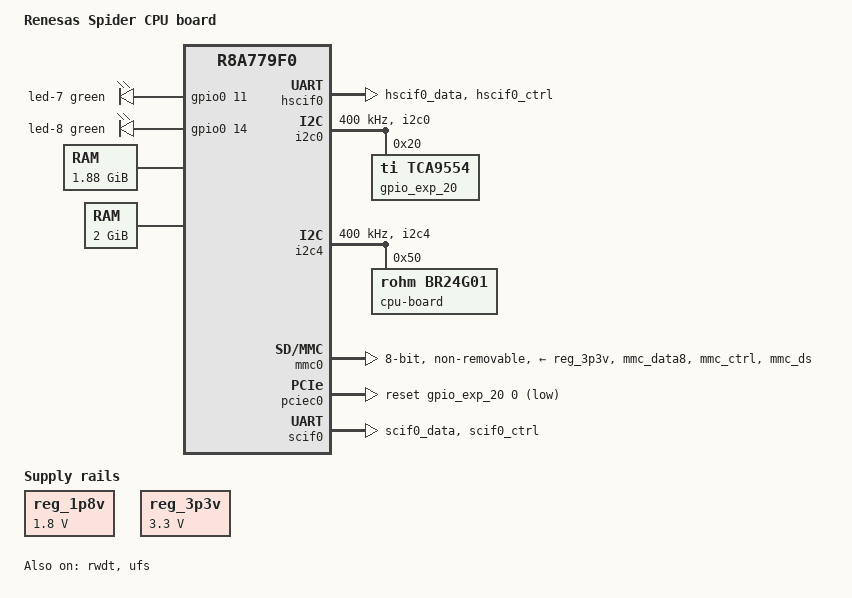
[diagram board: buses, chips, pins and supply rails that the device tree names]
// SPDX-License-Identifier: (GPL-2.0 OR MIT)
/*
 * Device Tree Source for the Spider CPU board
 *
 * Copyright (C) 2021 Renesas Electronics Corp.
 */

#include <dt-bindings/gpio/gpio.h>
#include <dt-bindings/leds/common.h>

#include "r8a779f0.dtsi"

/ {
	model = "Renesas Spider CPU board";
	compatible = "renesas,spider-cpu", "renesas,r8a779f0";

	aliases {
		i2c0 = &i2c0;
		i2c1 = &i2c1;
		i2c2 = &i2c2;
		i2c3 = &i2c3;
		i2c4 = &i2c4;
		i2c5 = &i2c5;
		serial0 = &hscif0;
		serial1 = &scif0;
	};

	chosen {
		bootargs = "ignore_loglevel rw root=/dev/nfs ip=on";
		stdout-path = "serial0:1843200n8";
	};

	leds {
		compatible = "gpio-leds";

		led-7 {
			gpios = <&gpio0 11 GPIO_ACTIVE_HIGH>;
			color = <LED_COLOR_ID_GREEN>;
			function = LED_FUNCTION_INDICATOR;
			function-enumerator = <7>;
		};

		led-8 {
			gpios = <&gpio0 14 GPIO_ACTIVE_HIGH>;
			color = <LED_COLOR_ID_GREEN>;
			function = LED_FUNCTION_INDICATOR;
			function-enumerator = <8>;
		};
	};

	memory@48000000 {
		device_type = "memory";
		/* first 128MB is reserved for secure area. */
		reg = <0x0 0x48000000 0x0 0x78000000>;
	};

	memory@480000000 {
		device_type = "memory";
		reg = <0x4 0x80000000 0x0 0x80000000>;
	};

	rc21012_pci: clk-rc21012-pci {
		compatible = "fixed-clock";
		clock-frequency = <100000000>;
		#clock-cells = <0>;
	};

	rc21012_ufs: clk-rc21012-ufs {
		compatible = "fixed-clock";
		clock-frequency = <38400000>;
		#clock-cells = <0>;
	};

	reg_1p8v: regulator-1p8v {
		compatible = "regulator-fixed";
		regulator-name = "fixed-1.8V";
		regulator-min-microvolt = <1800000>;
		regulator-max-microvolt = <1800000>;
		regulator-boot-on;
		regulator-always-on;
	};

	reg_3p3v: regulator-3p3v {
		compatible = "regulator-fixed";
		regulator-name = "fixed-3.3V";
		regulator-min-microvolt = <3300000>;
		regulator-max-microvolt = <3300000>;
		regulator-boot-on;
		regulator-always-on;
	};
};

&extal_clk {
	clock-frequency = <20000000>;
};

&extalr_clk {
	clock-frequency = <32768>;
};

&hscif0 {
	pinctrl-0 = <&hscif0_pins>;
	pinctrl-names = "default";
	bootph-all;

	uart-has-rtscts;
	status = "okay";
};

&i2c0 {
	pinctrl-0 = <&i2c0_pins>;
	pinctrl-names = "default";

	status = "okay";
	clock-frequency = <400000>;

	gpio_exp_20: gpio@20 {
		compatible = "ti,tca9554";
		reg = <0x20>;
		gpio-controller;
		#gpio-cells = <2>;

		rc21012-gpio2-hog {
			gpio-hog;
			gpios = <5 GPIO_ACTIVE_LOW>;
			output-high;
		};
	};
};

&i2c4 {
	pinctrl-0 = <&i2c4_pins>;
	pinctrl-names = "default";

	status = "okay";
	clock-frequency = <400000>;

	eeprom@50 {
		compatible = "rohm,br24g01", "atmel,24c01";
		label = "cpu-board";
		reg = <0x50>;
		pagesize = <8>;
	};
};

/*
 * This board also has a microSD slot which we will not support upstream
 * because we cannot directly switch voltages in software.
 */
&mmc0 {
	pinctrl-0 = <&mmc_pins>;
	pinctrl-1 = <&mmc_pins>;
	pinctrl-names = "default", "state_uhs";

	vmmc-supply = <&reg_3p3v>;
	vqmmc-supply = <&reg_1p8v>;
	mmc-hs200-1_8v;
	mmc-hs400-1_8v;
	bus-width = <8>;
	no-sd;
	no-sdio;
	non-removable;
	full-pwr-cycle-in-suspend;
	status = "okay";
};

&pcie0_clkref {
	compatible = "gpio-gate-clock";
	clocks = <&rc21012_pci>;
	enable-gpios = <&gpio2 15 GPIO_ACTIVE_LOW>;
	/delete-property/ clock-frequency;
};

&pciec0 {
	reset-gpios = <&gpio_exp_20 0 GPIO_ACTIVE_LOW>;
	status = "okay";
};

&pfc {
	pinctrl-0 = <&scif_clk_pins>;
	pinctrl-names = "default";

	hscif0_pins: hscif0 {
		groups = "hscif0_data", "hscif0_ctrl";
		function = "hscif0";
	};

	i2c0_pins: i2c0 {
		groups = "i2c0";
		function = "i2c0";
	};

	i2c4_pins: i2c4 {
		groups = "i2c4";
		function = "i2c4";
	};

	mmc_pins: mmc {
		groups = "mmc_data8", "mmc_ctrl", "mmc_ds";
		function = "mmc";
		power-source = <1800>;
	};

	scif0_pins: scif0 {
		groups = "scif0_data", "scif0_ctrl";
		function = "scif0";
	};

	scif_clk_pins: scif_clk {
		groups = "scif_clk";
		function = "scif_clk";
	};
};

&rwdt {
	timeout-sec = <60>;
	status = "okay";
};

&scif0 {
	pinctrl-0 = <&scif0_pins>;
	pinctrl-names = "default";

	uart-has-rtscts;
	status = "okay";
};

&scif_clk {
	clock-frequency = <24000000>;
};

&ufs {
	status = "okay";
};

&ufs30_clk {
	compatible = "gpio-gate-clock";
	clocks = <&rc21012_ufs>;
	enable-gpios = <&gpio_exp_20 4 GPIO_ACTIVE_LOW>;
	/delete-property/ clock-frequency;
};
